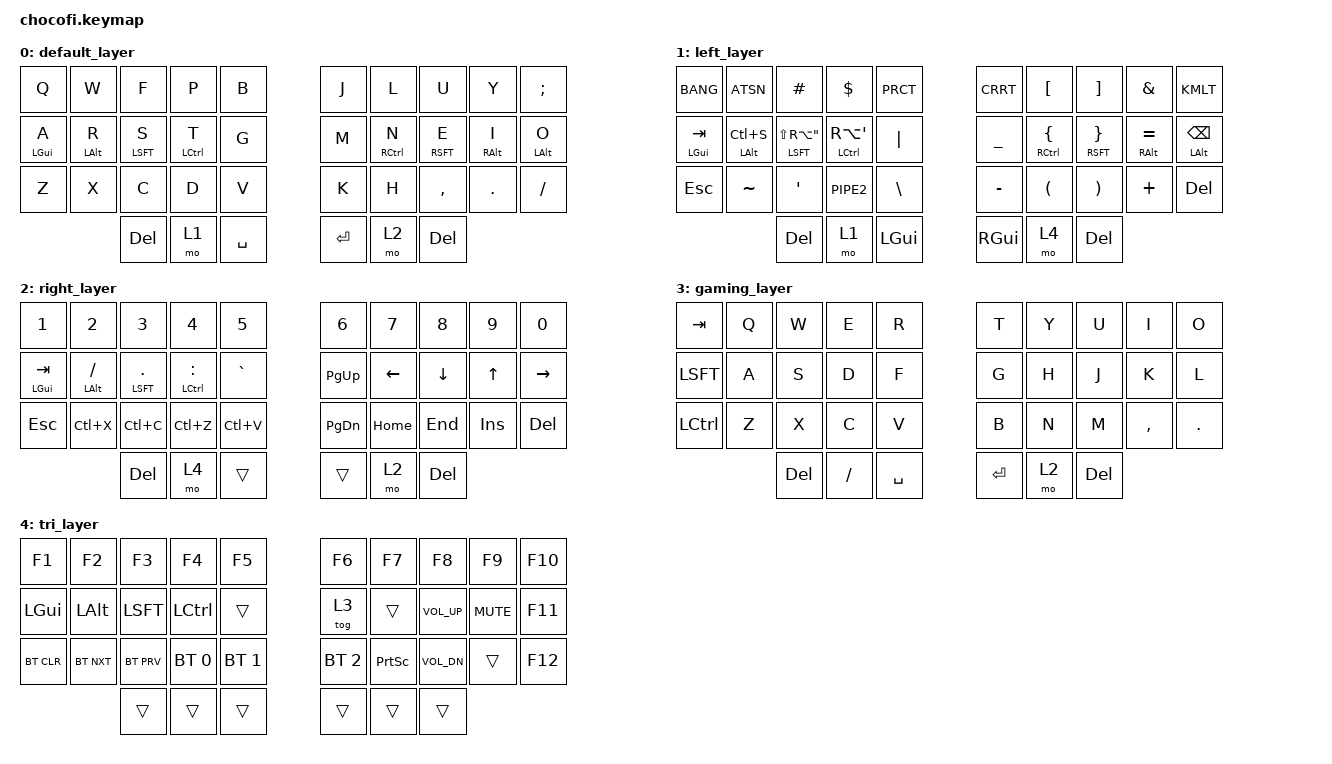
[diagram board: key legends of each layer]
/*
 * Copyright (c) 2022 The ZMK Contributors
 *
 * SPDX-License-Identifier: MIT
 */

#include <behaviors.dtsi>
#include <dt-bindings/zmk/keys.h>
#include <dt-bindings/zmk/bt.h>
#include "keys_se.h"

&mt {
    flavor = "tap-preferred";
    tapping_term_ms = <300>;
};

/ {

    combos {
        compatible = "zmk,combos";
        combo_esc {
            timeout-ms = <50>;
            key-positions = <0 1>;
            bindings = <&kp ESC>;
        };

         combo_tab {
            timeout-ms = <50>;
            key-positions = <11 12>;
            layers = <0 1 2 4>;
            bindings = <&kp TAB>;
        };
        combo_LPRN {
            timeout-ms = <50>;
            key-positions = <2 3>;
            layers = <0 1 2 4>;
            bindings = <&kp LPRN>;
        };

        combo_LBRC {
            timeout-ms = <50>;
            key-positions = <22 23>;
            layers = <0 1 2 4>;
            bindings = <&kp LBRC>;
        };

        combo_RPRN {
            timeout-ms = <50>;
            key-positions = <6 7>;
            layers = <0 1 2 4>;
            bindings = <&kp RPRN>;
        };

        combo_RBRC {
            timeout-ms = <50>;
            key-positions = <26 27>;
            layers = <0 1 2 4>;
            bindings = <&kp RBRC>;
        };

         combo_del {
            timeout-ms = <50>;
            key-positions = <28 29>;
            layers = <0 1 2 4>;
            bindings = <&kp DEL>;
        };

       combo_bspc {
            timeout-ms = <50>;
            key-positions = <16 17>;
            layers = <0 1 2 4>;
            bindings = <&kp BSPC>;
        };

        combo_ae {
            timeout-ms = <50>;
            key-positions = <17 18>;
            layers = <0 1 2 4>;
            bindings = <&kp RA(Q)>;
        };

        combo_oe {
            timeout-ms = <50>;
            key-positions = <27 28>;
            layers = <0 1 2 4>;
            bindings = <&kp RA(P)>;
        };

        combo_a {
            timeout-ms = <50>;
            key-positions = <7 8>;
            layers = <0 1 2 4>;
            bindings = <&kp RA(W)>;
        };

        combo_to_default {
            timeout-ms = <50>;
            key-positions = <31 32>;
            bindings = <&to 0>;
};

    };

        keymap {
                compatible = "zmk,keymap";

            default_layer {
        bindings = <

        &kp Q &kp W &kp F &kp P &kp B                       &kp J &kp L  &kp U    &kp Y   &kp SEMI
&mt LGUI A &mt LALT R &mt LSFT S &mt LCTL T &kp G                               &kp M &mt RCTL N &mt RSFT E &mt RALT I &mt LALT O
        &kp Z &kp X &kp C &kp D &kp V                      &kp K &kp H  &kp CMMA &kp DOT &kp SLASH
                &kp DEL &mo 1 &kp SPC                  &kp RET &mo 2 &kp DEL
        >;
        };

            left_layer {
        bindings = <
        &kp BANG  &kp ATSN &kp HASH  &kp DLLR  &kp PRCT             &kp CRRT &kp LBKT &kp RBKT &kp AMPS &kp KMLT
        &mt LGUI TAB &mt LALT LC(S) &mt LSFT LS(RA(DQT)) &mt LCTL RA(SQT) &kp PIPE         &kp UNDER &mt RCTL LBRC  &mt RSFT RBRC &mt RALT EQL  &mt LALT BSPC
        &kp ESC    &kp TILDE    &kp APOS &kp PIPE2  &kp BACKSLASH     &kp MINUS &kp LPRN &kp RPRN &kp PLUS  &kp DEL
                &kp DEL &mo 1  &kp LGUI                     &kp RGUI &mo 4 &kp DEL
        >;
        };

            right_layer {
        bindings = <
        &kp NUM_1  &kp NUM_2  &kp NUM_3  &kp NUM_4  &kp NUM_5     &kp NUM_6  &kp NUM_7  &kp NUM_8  &kp NUM_9  &kp NUM_0
&mt LGUI TAB  &mt LALT FSLH &mt LSFT DOT &mt LCTL COLON &kp GRAVE     &kp PG_UP &kp LEFT &kp DOWN &kp UP  &kp RIGHT
        &kp ESC  &kp LC(X) &kp LC(C) &kp LC(Z)   &kp LC(V)             &kp PG_DN &kp HOME &kp END &kp INSERT  &kp DEL
                        &kp DEL &mo 4 &trans                &trans  &mo 2 &kp DEL
        >;
        };
            gaming_layer {
                bindings = <

            &kp TAB &kp Q &kp W &kp E &kp R                       &kp T &kp Y  &kp U &kp I &kp O
            &kp LSFT &kp A &kp S &kp D &kp F                      &kp G &kp H &kp J &kp K &kp L
            &kp LCTL &kp Z &kp X &kp C &kp V                      &kp B &kp N &kp M &kp CMMA &kp DOT
                    &kp DEL &kp SLASH &kp SPC                  &kp RET &mo 2 &kp DEL
            >;
            };

             tri_layer {
        bindings = <
        &kp F1 &kp F2 &kp F3 &kp F4 &kp F5                              &kp F6 &kp F7 &kp F8 &kp F9 &kp F10
        &kp LGUI &kp LALT &kp LSFT &kp LCTL &trans            &tog 3 &trans  &kp K_VOL_UP &kp K_MUTE &kp F11
        &bt BT_CLR  &bt BT_NXT &bt BT_PRV &bt BT_SEL 0 &bt BT_SEL 1     &bt BT_SEL 2 &kp PSCRN  &kp K_VOL_DN  &trans &kp F12
                        &trans &trans &trans                    &trans &trans &trans
        >;
        };


    };
};
